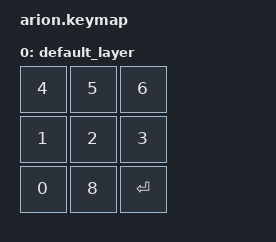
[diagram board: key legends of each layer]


#include <behaviors.dtsi>
#include <dt-bindings/zmk/ext_power.h>


/ {
	keymap {
		compatible = "zmk,keymap";

		default_layer {
			bindings = <
                &kp N4              &kp N5              &kp N6           
                &kp N1              &kp N2              &kp N3 
                &kp N0              &kp N8           &kp ENTER
			>;
		};

	};
};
